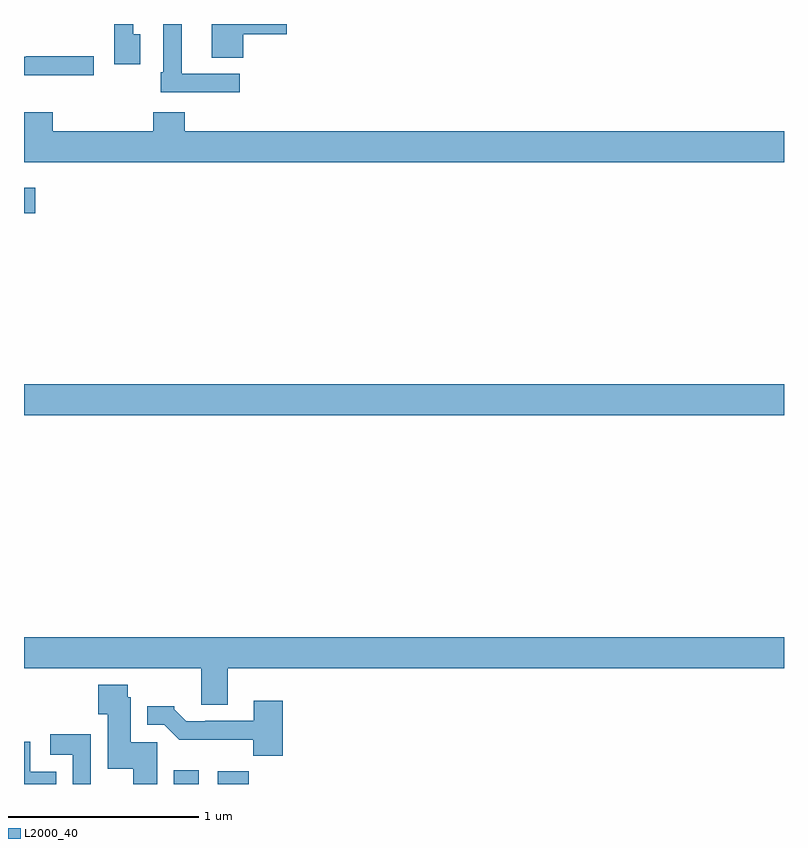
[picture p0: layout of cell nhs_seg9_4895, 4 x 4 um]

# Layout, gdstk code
import gdstk
lib = gdstk.Library(unit=1e-6, precision=1e-09)
def R(c, l, rs):  # rectangles x0, y0, x1, y1
    for r in rs: c.add(gdstk.rectangle(r[:2], r[2:], *l))
def P(c, l, *ps):  # polygons
    for p in ps: c.add(gdstk.Polygon(p, *l))
L2000_40 = (2000, 40)

nhs_seg9_4895 = lib.new_cell('nhs_seg9_4895')
R(nhs_seg9_4895, L2000_40, [(395.789,1174.5,395.92,1174.573), (396.02,1174.5,396.182,1174.567), (395,1176.44,399,1176.604), (395,1177.505,395.059,1177.639)])
P(nhs_seg9_4895, L2000_40, [(395.611,1178.445),(395.574,1178.445),(395.574,1178.5),(395.476,1178.5),(395.476,1178.289),(395.611,1178.289)],
  [(396.155,1178.447),(396.383,1178.447),(396.383,1178.5),(395.987,1178.5),(395.987,1178.323),(396.155,1178.323)],
  [(396.136,1178.238),(395.83,1178.238),(395.83,1178.435),(395.829,1178.435),(395.829,1178.5),(395.733,1178.5),(395.733,1178.245),(395.721,1178.245),(395.721,1178.142),(396.136,1178.142)],
  [(395.368,1178.331),(395.011,1178.331),(395.011,1178.328),(395,1178.328),(395,1178.231),(395.368,1178.231)],
  [(399,1177.936),(395.846,1177.936),(395.846,1178.035),(395.681,1178.035),(395.681,1177.936),(395.15,1177.936),(395.15,1178.035),(395,1178.035),(395,1177.772),(399,1177.772)],
  [(396.073,1175.108),(399,1175.108),(399,1175.272),(395,1175.272),(395,1175.108),(395.933,1175.108),(395.933,1174.918),(396.073,1174.918)],
  [(395.701,1174.719),(395.563,1174.719),(395.563,1174.956),(395.547,1174.956),(395.547,1175.023),(395.39,1175.023),(395.39,1174.867),(395.441,1174.867),(395.441,1174.58),(395.576,1174.58),(395.576,1174.5),(395.701,1174.5)],
  [(396.362,1174.939),(396.209,1174.939),(396.209,1174.833),(395.953,1174.833),(395.953,1174.83),(395.854,1174.83),(395.79,1174.894),(395.79,1174.909),(395.648,1174.909),(395.648,1174.812),(395.739,1174.812),(395.818,1174.734),(396.207,1174.734),(396.207,1174.649),(396.362,1174.649)],
  [(395.352,1174.762),(395.139,1174.762),(395.139,1174.653),(395.256,1174.653),(395.256,1174.5),(395.352,1174.5)],
  [(395.171,1174.564),(395.032,1174.564),(395.032,1174.722),(395,1174.722),(395,1174.5),(395.171,1174.5)])

lib.write_gds('nhs_seg9_4895.gds')
